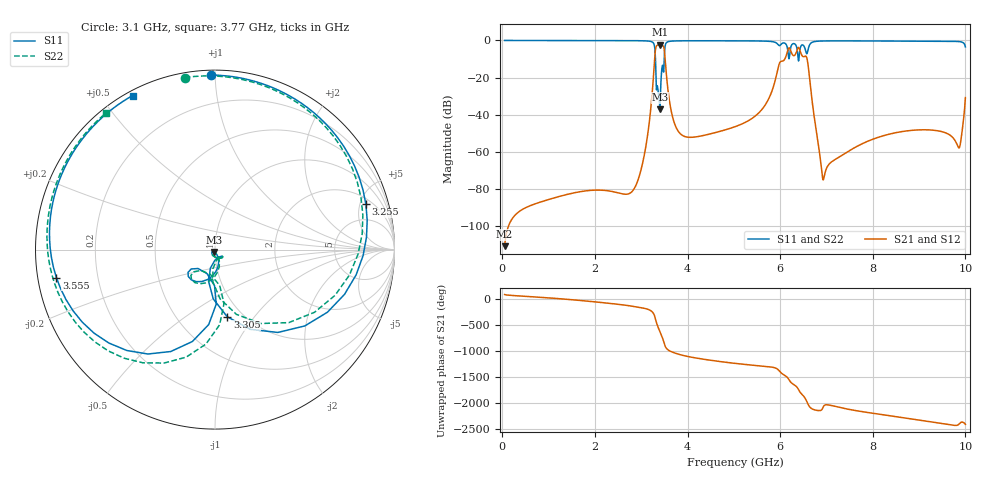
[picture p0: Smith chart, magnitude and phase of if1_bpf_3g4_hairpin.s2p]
! kicad2ems mom25d 2.5D MoM (f)
! ports: 1=P1, 2=P2
# Hz S RI R 50
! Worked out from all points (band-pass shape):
!   1991 points, 50 MHz to 10 GHz, reference 50 ohm
!   highest |S21| = -2.25 dB at 3.4 GHz (marker M1); lowest = -110.9 dB at 50 MHz (marker M2)
!   |S21| within 3 dB of the highest: 3.306 GHz to 3.499 GHz (192.7 MHz wide, 5.66 % of centre); 6.365 GHz to 6.427 GHz (61.61 MHz wide, 0.963 % of centre)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
!   lowest |S11| = -37.1 dB at 3.405 GHz (marker M3), VSWR 1.03, Z = 49.6 - j1.34 ohm
!   |S11| at or under -10 dB: 3.308 GHz to 3.496 GHz (187.8 MHz wide, 5.52 % of centre); 6.389513 GHz to 6.404888 GHz (15.38 MHz wide, 0.24 % of centre)
!   |S22| runs from -36.2 to 0.0 dB; largest |S21 - S12| = 3.2e-06
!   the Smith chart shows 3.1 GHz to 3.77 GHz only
!   S11 on the Smith chart (normalised r, x): 3.1 GHz: 0.03, +0.97; 3.255 GHz: 2.58, +5.67; 3.305 GHz: 0.85, -0.74; 3.555 GHz: 0.05, -0.09; 3.77 GHz: 0.02, +0.60
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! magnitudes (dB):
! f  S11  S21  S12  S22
! 50 MHz  0.0  -110.9  -110.9  0.0
! 1.71 GHz  0.0  -81.4  -81.4  0.0
! 2.83 GHz  -0.1  -80.6  -80.6  -0.1
! 3.1 GHz  -0.2  -57.1  -57.1  -0.2
! 3.255 GHz  -1.1  -22.6  -22.6  -1.1
! 3.305 GHz  -8.4  -5.4  -5.4  -8.4
! 3.37 GHz  -28.4  -2.3  -2.3  -28.5
! 3.4 GHz  -36.1  -2.2  -2.2  -35.4
! 3.405 GHz  -37.1  -2.3  -2.3  -36.2
! 3.48 GHz  -17.0  -3.2  -3.2  -17.0
! 3.555 GHz  -0.9  -21.5  -21.5  -0.9
! 3.77 GHz  -0.2  -47.7  -47.7  -0.2
! 5.025 GHz  -0.2  -46.5  -46.5  -0.2
! 5.655 GHz  -0.3  -35.6  -35.6  -0.3
! 6.19 GHz  -9.9  -4.0  -4.0  -9.6
! 6.56 GHz  -6.4  -8.6  -8.6  -6.2
! 6.685 GHz  -1.1  -31.5  -31.5  -1.1
! 6.94 GHz  -0.3  -74.5  -74.5  -0.3
! 8.345 GHz  -0.3  -50.6  -50.6  -0.3
! 9.4 GHz  -0.4  -48.7  -48.7  -0.4
! 9.85 GHz  -0.6  -57.7  -57.7  -0.6
! 10 GHz  -3.5  -30.8  -30.8  -3.6
